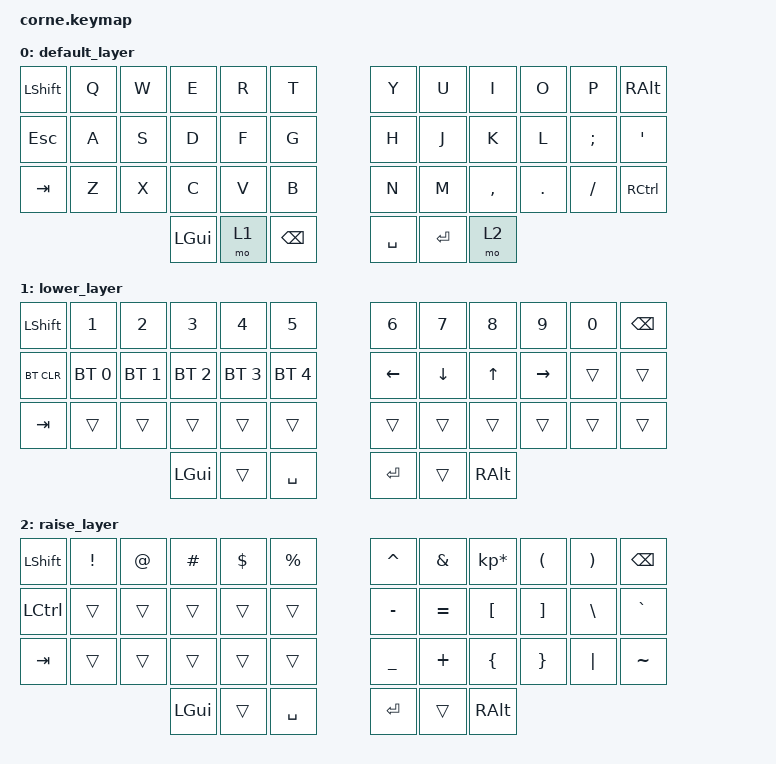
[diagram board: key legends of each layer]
/*
 * Copyright (c) 2020 The ZMK Contributors
 *
 * SPDX-License-Identifier: MIT
 */

#include <behaviors.dtsi>
#include <dt-bindings/zmk/bt.h>
#include <dt-bindings/zmk/keys.h>

/ {
    keymap {
        compatible = "zmk,keymap";

        default_layer {
            // -----------------------------------------------------------------------------------------
            // |  SHFT |  Q  |  W  |  E  |  R  |  T  |   |  Y  |  U   |  I  |  O  |  P  | RALT |
            // | ESC  |  A  |  S  |  D  |  F  |  G  |   |  H  |  J   |  K  |  L  |  ;  |  '   |
            // | TAB |  Z  |  X  |  C  |  V  |  B  |   |  N  |  M   |  ,  |  .  |  /  | RCTRL|
            //                    | GUI | LWR | BKSP |   | SPC | RSE  | ALT |

            bindings = <
&kp LSHFT  &kp Q  &kp W  &kp E     &kp R  &kp T            &kp Y      &kp U    &kp I      &kp O    &kp P     &kp RALT
&kp ESC    &kp A  &kp S  &kp D     &kp F  &kp G            &kp H      &kp J    &kp K      &kp L    &kp SEMI  &kp SQT
&kp TAB    &kp Z  &kp X  &kp C     &kp V  &kp B            &kp N      &kp M    &kp COMMA  &kp DOT  &kp FSLH  &kp RCTRL
                         &kp LGUI  &mo 1  &kp BACKSPACE    &kp SPACE  &kp RET  &mo 2
            >;
        };

        lower_layer {
            // -----------------------------------------------------------------------------------------
            // | SHFT |  1  |  2  |  3  |  4  |  5  |   |  6  |  7  |  8  |  9  |  0  | BKSP |
            // | BTCLR| BT1 | BT2 | BT3 | BT4 | BT5 |   | LFT | DWN |  UP | RGT |     |      |
            // | TAB  |     |     |     |     |     |   |     |     |     |     |     |      |
            //                    | GUI |     | SPC |   | ENT |     | ALT |

            bindings = <
&kp LSHFT   &kp N1        &kp N2        &kp N3        &kp N4        &kp N5          &kp N6    &kp N7    &kp N8    &kp N9     &kp N0  &kp BSPC
&bt BT_CLR  &bt BT_SEL 0  &bt BT_SEL 1  &bt BT_SEL 2  &bt BT_SEL 3  &bt BT_SEL 4    &kp LEFT  &kp DOWN  &kp UP    &kp RIGHT  &trans  &trans
&kp TAB     &trans        &trans        &trans        &trans        &trans          &trans    &trans    &trans    &trans     &trans  &trans
                                        &kp LGUI      &trans        &kp SPACE       &kp RET   &trans    &kp RALT
            >;
        };

        raise_layer {
            // -----------------------------------------------------------------------------------------
            // | SHFT |  !  |  @  |  #  |  $  |  %  |   |  ^  |  &  |  *  |  (  |  )  | BKSP |
            // | CTRL |     |     |     |     |     |   |  -  |  =  |  [  |  ]  |  \  |  `   |
            // | TAB |     |     |     |     |     |   |  _  |  +  |  {  |  }  | "|" |  ~   |
            //                    | GUI |     | SPC |   | ENT |     | ALT |

            bindings = <
&kp LSHFT  &kp EXCL  &kp AT  &kp HASH  &kp DLLR  &kp PRCNT    &kp CARET  &kp AMPS   &kp KP_MULTIPLY  &kp LPAR  &kp RPAR  &kp BSPC
&kp LCTRL  &trans    &trans  &trans    &trans    &trans       &kp MINUS  &kp EQUAL  &kp LBKT         &kp RBKT  &kp BSLH  &kp GRAVE
&kp TAB    &trans    &trans  &trans    &trans    &trans       &kp UNDER  &kp PLUS   &kp LBRC         &kp RBRC  &kp PIPE  &kp TILDE
                             &kp LGUI  &trans    &kp SPACE    &kp RET    &trans     &kp RALT
            >;
        };
    };
};
